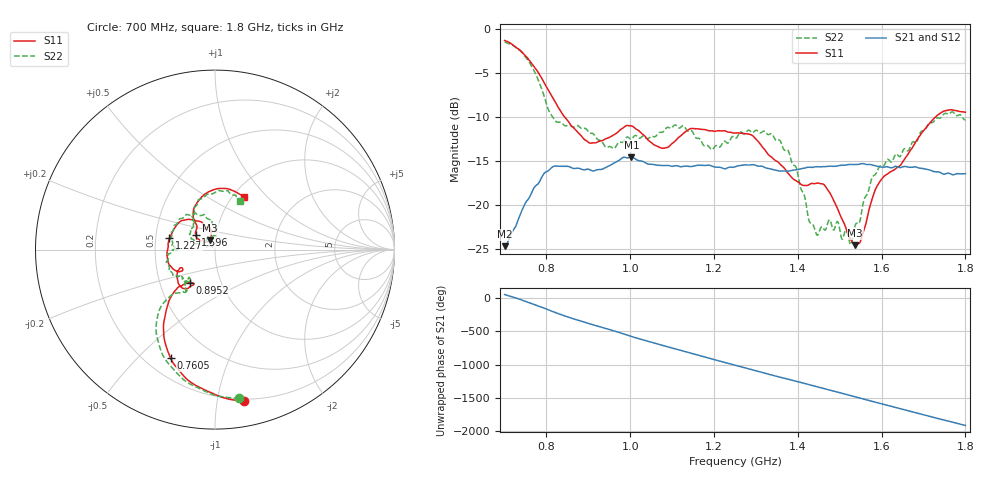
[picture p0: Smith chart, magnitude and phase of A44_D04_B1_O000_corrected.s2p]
! Created with skrf 1.9.0 (http://scikit-rf.org).
# Hz S RI R 50.0
!freq ReS11 ImS11 ReS21 ImS21 ReS12 ImS12 ReS22 ImS22
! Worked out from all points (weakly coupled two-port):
!   1601 points, 700 MHz to 1.8 GHz, reference 50 ohm
!   highest |S21| = -14.61 dB at 1.002 GHz (marker M1); lowest = -24.7 dB at 700.7 MHz (marker M2)
!   lowest |S11| = -24.6 dB at 1.537 GHz (marker M3), VSWR 1.12, Z = 47.1 + j4.91 ohm
!   |S11| at or under -10 dB: 842.7 MHz to 1.729 GHz (886.7 MHz wide, 69 % of centre)
!   |S22| runs from -24.5 to -1.5 dB; largest |S21 - S12| = 0.0033
!   S11 on the Smith chart (normalised r, x): 700 MHz: 0.19, -1.20; 760.5 MHz: 0.30, -0.63; 895.2 MHz: 0.71, -0.28; 1.227 GHz: 0.59, +0.08; 1.596 GHz: 0.80, +0.13; 1.8 GHz: 1.13, +0.74
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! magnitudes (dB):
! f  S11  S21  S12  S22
! 700 MHz  -1.3  -24.7  -24.5  -1.5
! 700.7 MHz  -1.3  -24.7  -24.4  -1.5
! 760.5 MHz  -3.7  -19.1  -18.9  -3.9
! 818.9 MHz  -8.2  -15.6  -15.7  -10.3
! 883.6 MHz  -12.2  -16.0  -15.9  -11.3
! 895.2 MHz  -12.7  -16.0  -16.1  -11.4
! 944.1 MHz  -12.5  -15.7  -15.8  -13.5
! 1.002 GHz  -11.0  -14.6  -14.7  -12.6
! 1.067 GHz  -13.4  -15.5  -15.5  -11.9
! 1.145 GHz  -11.4  -15.7  -15.7  -11.5
! 1.227 GHz  -11.6  -15.9  -15.8  -12.8
! 1.25 GHz  -11.9  -15.7  -15.6  -12.4
! 1.357 GHz  -15.4  -16.2  -16.1  -12.7
! 1.396 GHz  -17.3  -16.0  -16.0  -15.8
! 1.434 GHz  -17.6  -15.8  -15.7  -22.2
! 1.468 GHz  -18.1  -15.7  -15.6  -22.7
! 1.526 GHz  -23.9  -15.4  -15.4  -24.5
! 1.537 GHz  -24.6  -15.4  -15.4  -22.4
! 1.596 GHz  -17.4  -15.7  -15.7  -15.6
! 1.617 GHz  -16.4  -15.8  -15.7  -14.9
! 1.733 GHz  -9.8  -16.3  -16.3  -10.1
! 1.8 GHz  -9.5  -16.5  -16.5  -10.3
